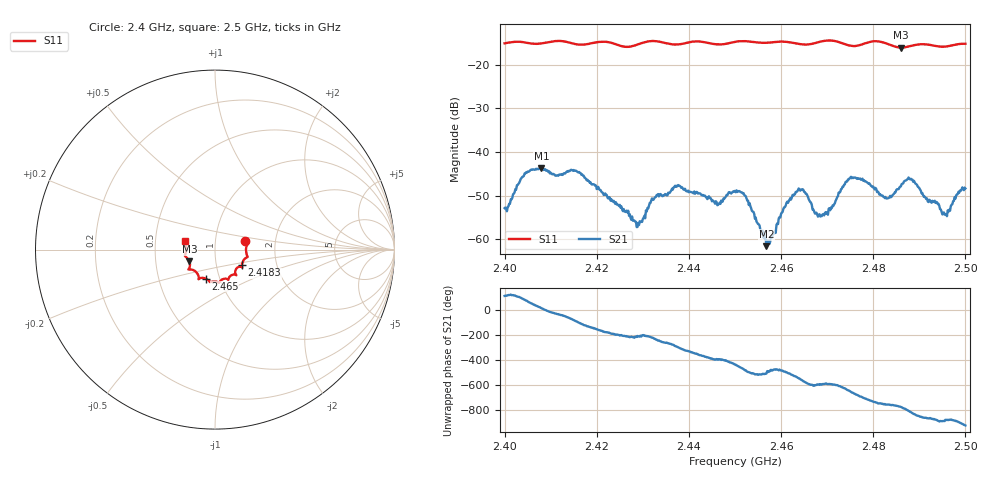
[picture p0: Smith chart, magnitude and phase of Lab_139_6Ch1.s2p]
# Hz S RI R 50
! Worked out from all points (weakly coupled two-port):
!   601 points, 2.4 GHz to 2.5 GHz, reference 50 ohm
!   highest |S21| = -43.75 dB at 2.408 GHz (marker M1); lowest = -61.6 dB at 2.4568 GHz (marker M2)
!   lowest |S11| = -16.1 dB at 2.486 GHz (marker M3), VSWR 1.37, Z = 37.2 - j4.94 ohm
!   |S11| at or under -10 dB: start of sweep to end of sweep
!   S12 and S22 are empty: the file has one direction only
!   S11 on the Smith chart (normalised r, x): 2.4 GHz: 1.40, +0.13; 2.4183 GHz: 1.33, -0.24; 2.465 GHz: 0.86, -0.28; 2.5 GHz: 0.71, +0.07
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2.4e9  0.1688 0.0465  -0.000796 0.00213  0 0  0 0
2.404167e9  0.1781 0.0264  0.000694 0.00526  0 0  0 0
2.408e9  0.1739 -0.0161  0.00635 0.00135  0 0  0 0
2.416667e9  0.1547 -0.0678  -0.00217 -0.00504  0 0  0 0
2.418333e9  0.1499 -0.0869  -0.00336 -0.00318  0 0  0 0
2.428667e9  0.1122 -0.1254  -0.00109 0.00085  0 0  0 0
2.433333e9  0.1179 -0.1411  -0.00127 0.00304  0 0  0 0
2.437667e9  0.0849 -0.1474  0.00214 0.0036  0 0  0 0
2.446333e9  0.0506 -0.1627  0.002 -0.00146  0 0  0 0
2.45e9  0.0258 -0.1801  0.000614 -0.00353  0 0  0 0
2.452333e9  0.0206 -0.1842  -0.00178 -0.00256  0 0  0 0
2.456833e9  -0.00804 -0.1774  -0.000722 -0.000419  0 0  0 0
2.4615e9  -0.0304 -0.1786  -0.00221 -0.0014  0 0  0 0
2.465e9  -0.0525 -0.1614  -0.00283 0.00205  0 0  0 0
2.466667e9  -0.0713 -0.1572  -0.00122 0.00216  0 0  0 0
2.469667e9  -0.0909 -0.1642  -0.00131 0.00157  0 0  0 0
2.4755e9  -0.105 -0.1247  0.00283 0.00423  0 0  0 0
2.483333e9  -0.141 -0.0965  0.0023 -0.00188  0 0  0 0
2.486e9  -0.1425 -0.0647  0.00211 -0.00344  0 0  0 0
2.488333e9  -0.1584 -0.0441  -0.00119 -0.00469  0 0  0 0
2.4955e9  -0.1601 0.0102  -0.0019 -0.000286  0 0  0 0
2.5e9  -0.1667 0.0469  -0.00342 0.00171  0 0  0 0
